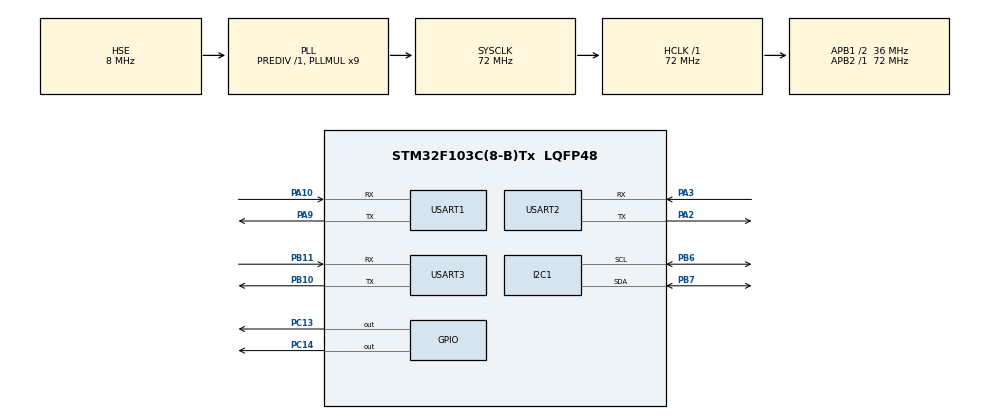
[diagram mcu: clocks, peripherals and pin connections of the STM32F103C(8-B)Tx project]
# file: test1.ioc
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Dma.Request0=USART2_RX
Dma.Request1=USART1_RX
Dma.Request2=USART3_RX
Dma.Request3=USART1_TX
Dma.Request4=USART2_TX
Dma.Request5=USART3_TX
Dma.USART1_RX.1.Direction=DMA_PERIPH_TO_MEMORY
Dma.USART1_RX.1.Instance=DMA1_Channel5
Dma.USART1_RX.1.MemDataAlignment=DMA_MDATAALIGN_BYTE
Dma.USART1_RX.1.MemInc=DMA_MINC_ENABLE
Dma.USART1_RX.1.Mode=DMA_NORMAL
Dma.USART1_RX.1.PeriphDataAlignment=DMA_PDATAALIGN_BYTE
Dma.USART1_RX.1.PeriphInc=DMA_PINC_DISABLE
Dma.USART1_RX.1.Priority=DMA_PRIORITY_LOW
Dma.USART1_TX.3.Direction=DMA_MEMORY_TO_PERIPH
Dma.USART1_TX.3.Instance=DMA1_Channel4
Dma.USART1_TX.3.MemDataAlignment=DMA_MDATAALIGN_BYTE
Dma.USART1_TX.3.MemInc=DMA_MINC_ENABLE
Dma.USART1_TX.3.Mode=DMA_NORMAL
Dma.USART1_TX.3.PeriphDataAlignment=DMA_PDATAALIGN_BYTE
Dma.USART1_TX.3.PeriphInc=DMA_PINC_DISABLE
Dma.USART1_TX.3.Priority=DMA_PRIORITY_LOW
Dma.USART2_RX.0.Direction=DMA_PERIPH_TO_MEMORY
Dma.USART2_RX.0.Instance=DMA1_Channel6
Dma.USART2_RX.0.MemDataAlignment=DMA_MDATAALIGN_BYTE
Dma.USART2_RX.0.MemInc=DMA_MINC_ENABLE
Dma.USART2_RX.0.Mode=DMA_NORMAL
Dma.USART2_RX.0.PeriphDataAlignment=DMA_PDATAALIGN_BYTE
Dma.USART2_RX.0.PeriphInc=DMA_PINC_DISABLE
Dma.USART2_RX.0.Priority=DMA_PRIORITY_LOW
Dma.USART2_TX.4.Direction=DMA_MEMORY_TO_PERIPH
Dma.USART2_TX.4.Instance=DMA1_Channel7
Dma.USART2_TX.4.MemDataAlignment=DMA_MDATAALIGN_BYTE
Dma.USART2_TX.4.MemInc=DMA_MINC_ENABLE
Dma.USART2_TX.4.Mode=DMA_NORMAL
Dma.USART2_TX.4.PeriphDataAlignment=DMA_PDATAALIGN_BYTE
Dma.USART2_TX.4.PeriphInc=DMA_PINC_DISABLE
Dma.USART2_TX.4.Priority=DMA_PRIORITY_LOW
Dma.USART3_RX.2.Direction=DMA_PERIPH_TO_MEMORY
Dma.USART3_RX.2.Instance=DMA1_Channel3
Dma.USART3_RX.2.MemDataAlignment=DMA_MDATAALIGN_BYTE
Dma.USART3_RX.2.MemInc=DMA_MINC_ENABLE
Dma.USART3_RX.2.Mode=DMA_NORMAL
Dma.USART3_RX.2.PeriphDataAlignment=DMA_PDATAALIGN_BYTE
Dma.USART3_RX.2.PeriphInc=DMA_PINC_DISABLE
Dma.USART3_RX.2.Priority=DMA_PRIORITY_LOW
Dma.USART3_TX.5.Direction=DMA_MEMORY_TO_PERIPH
Dma.USART3_TX.5.Instance=DMA1_Channel2
Dma.USART3_TX.5.MemDataAlignment=DMA_MDATAALIGN_BYTE
Dma.USART3_TX.5.MemInc=DMA_MINC_ENABLE
Dma.USART3_TX.5.Mode=DMA_NORMAL
Dma.USART3_TX.5.PeriphDataAlignment=DMA_PDATAALIGN_BYTE
Dma.USART3_TX.5.PeriphInc=DMA_PINC_DISABLE
Dma.USART3_TX.5.Priority=DMA_PRIORITY_LOW
FREERTOS.Tasks01=defaultTask,24,128,StartDefaultTask,Default,NULL,Dynamic,NULL,NULL
FREERTOS.configTOTAL_HEAP_SIZE=8000
Mcu.Family=STM32F1
Mcu.Name=STM32F103C(8-B)Tx
Mcu.Package=LQFP48
NVIC.DMA1_Channel2_IRQn=true\:5\:0\:false\:false\:true\:true\:false\:true\:true
NVIC.DMA1_Channel3_IRQn=true\:5\:0\:false\:false\:true\:true\:false\:true\:true
NVIC.DMA1_Channel4_IRQn=true\:5\:0\:false\:false\:true\:true\:false\:true\:true
NVIC.DMA1_Channel5_IRQn=true\:5\:0\:false\:false\:true\:true\:false\:true\:true
NVIC.DMA1_Channel6_IRQn=true\:5\:0\:false\:false\:true\:true\:false\:true\:true
NVIC.DMA1_Channel7_IRQn=true\:5\:0\:false\:false\:true\:true\:false\:true\:true
NVIC.PriorityGroup=NVIC_PRIORITYGROUP_4
NVIC.RTC_Alarm_IRQn=true\:5\:0\:false\:false\:true\:true\:true\:true\:true
NVIC.TIM2_IRQn=true\:5\:0\:false\:false\:true\:true\:true\:true\:true
NVIC.TIM4_IRQn=true\:15\:0\:false\:false\:true\:false\:false\:true\:true
NVIC.TimeBase=TIM4_IRQn
NVIC.TimeBaseIP=TIM4
NVIC.USART1_IRQn=true\:5\:0\:false\:false\:true\:true\:true\:true\:true
NVIC.USART2_IRQn=true\:5\:0\:false\:false\:true\:true\:true\:true\:true
NVIC.USART3_IRQn=true\:5\:0\:false\:false\:true\:true\:true\:true\:true
PA10.Mode=Asynchronous
PA10.Signal=USART1_RX
PA13.Mode=Serial_Wire
PA13.Signal=SYS_JTMS-SWDIO
PA14.Mode=Serial_Wire
PA14.Signal=SYS_JTCK-SWCLK
PA2.Mode=Asynchronous
PA2.Signal=USART2_TX
PA3.Mode=Asynchronous
PA3.Signal=USART2_RX
PA9.Mode=Asynchronous
PA9.Signal=USART1_TX
PB10.Mode=Asynchronous
PB10.Signal=USART3_TX
PB11.Mode=Asynchronous
PB11.Signal=USART3_RX
PB6.Mode=I2C
PB6.Signal=I2C1_SCL
PB7.Mode=I2C
PB7.Signal=I2C1_SDA
PC13-TAMPER-RTC.Signal=GPIO_Output
PC14-OSC32_IN.PinState=GPIO_PIN_SET
PC14-OSC32_IN.Signal=GPIO_Output
PD0-OSC_IN.Mode=HSE-External-Oscillator
PD0-OSC_IN.Signal=RCC_OSC_IN
PD1-OSC_OUT.Mode=HSE-External-Oscillator
PD1-OSC_OUT.Signal=RCC_OSC_OUT
ProjectManager.HeapSize=0x200
ProjectManager.StackSize=0x400
ProjectManager.TargetToolchain=MDK-ARM V5.32
RCC.AHBFreq_Value=72000000
RCC.APB1CLKDivider=RCC_HCLK_DIV2
RCC.APB1Freq_Value=36000000
RCC.APB1TimFreq_Value=72000000
RCC.APB2Freq_Value=72000000
RCC.APB2TimFreq_Value=72000000
RCC.HCLKFreq_Value=72000000
RCC.PLLMUL=RCC_PLL_MUL9
RCC.PLLSourceVirtual=RCC_PLLSOURCE_HSE
RCC.SYSCLKFreq_VALUE=72000000
RCC.SYSCLKSource=RCC_SYSCLKSOURCE_PLLCLK
RCC.USBFreq_Value=72000000
RTC.Date=28
RTC.Hours=13
RTC.Minutes=42
RTC.Month=RTC_MONTH_APRIL
RTC.WeekDay=RTC_WEEKDAY_SUNDAY
RTC.Year=25
TIM2.AutoReloadPreload=TIM_AUTORELOAD_PRELOAD_ENABLE
TIM2.Period=9999
TIM2.Prescaler=7199
USART1.VirtualMode=VM_ASYNC
USART2.VirtualMode=VM_ASYNC
USART3.VirtualMode=VM_ASYNC
VP_FREERTOS_VS_CMSIS_V2.Mode=CMSIS_V2
VP_RTC_VS_RTC_Activate.Mode=RTC_Enabled
VP_RTC_VS_RTC_Calendar.Mode=RTC_Calendar
VP_SYS_VS_tim4.Mode=TIM4
VP_TIM2_VS_ClockSourceINT.Mode=Internal
board=custom

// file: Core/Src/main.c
/* USER CODE BEGIN Header */
/**
  ******************************************************************************
  * @file           : main.c
  * @brief          : Main program body
  ******************************************************************************
  * @attention
  *
  * Copyright (c) 2024 STMicroelectronics.
  * All rights reserved.
  *
  * This software is licensed under terms that can be found in the LICENSE file
  * in the root directory of this software component.
  * If no LICENSE file comes with this software, it is provided AS-IS.
  *
  ******************************************************************************
  */
/* USER CODE END Header */
#include "main.h"
#include "cmsis_os.h"
#include "dma.h"
#include "i2c.h"
#include "rtc.h"
#include "tim.h"
#include "usart.h"
#include "gpio.h"

/* USER CODE BEGIN Includes */
/* USER CODE BEGIN 0 */
#include "stdio.h"
#include "string.h"
#include "driver.h"

/* USER CODE END 0 */

/* USER CODE END Includes */

/* USER CODE BEGIN PTD */

extern driver_uart_1 uart_1;
extern driver_uart_2 uart_2;
extern driver_uart_3 uart_3;
//串口结构体初始化

/* USER CODE END PTD */

/* USER CODE BEGIN PD */
extern DMA_HandleTypeDef hdma_usart1_rx;
extern DMA_HandleTypeDef hdma_usart2_rx;
extern DMA_HandleTypeDef hdma_usart3_rx;
/* USER CODE END PD */

void SystemClock_Config(void);
void MX_FREERTOS_Init(void);

/* USER CODE BEGIN 0 */
#include "stdio.h"
#include "string.h"
#include "driver.h"

/* USER CODE END 0 */

int main(void)
{

  /* MCU Configuration--------------------------------------------------------*/

  /* Reset of all peripherals, Initializes the Flash interface and the Systick. */
  HAL_Init();

  /* Configure the system clock */
  SystemClock_Config();

  /* Initialize all configured peripherals */
  MX_GPIO_Init();
  MX_DMA_Init();
  MX_I2C1_Init();
  MX_TIM2_Init();
  MX_USART1_UART_Init();
  MX_RTC_Init();
  MX_USART2_UART_Init();
  MX_USART3_UART_Init();
  /* USER CODE BEGIN 2 */

/*
3个出口接受中断初始化DMA,并且开启空闲中断，空闲中断需要规定齐内容的最大值receiveData_uart1
*/
	HAL_UARTEx_ReceiveToIdle_DMA(&huart1, (uint8_t *)&uart_1.aRxBuffer, receiveData_uart1);
	__HAL_DMA_DISABLE_IT(&hdma_usart1_rx,DMA_IT_HT);//关闭DMA过半中断

	HAL_UARTEx_ReceiveToIdle_DMA(&huart2, (uint8_t *)&uart_2.aRxBuffer, receiveData_uart2);
	__HAL_DMA_DISABLE_IT(&hdma_usart2_rx,DMA_IT_HT);

	HAL_UARTEx_ReceiveToIdle_DMA(&huart3, (uint8_t *)&uart_3.aRxBuffer, receiveData_uart3);
	__HAL_DMA_DISABLE_IT(&hdma_usart3_rx,DMA_IT_HT);

//	HAL_UARTEx_ReceiveToIdle_DMA(&huart2, (uint8_t *)&uart_2.aRxBuffer, 2);
//

  /* USER CODE END 2 */

  /* Init scheduler */
  osKernelInitialize();

  /* Call init function for freertos objects (in cmsis_os2.c) */
  MX_FREERTOS_Init();

  /* Start scheduler */
  osKernelStart();

  /* We should never get here as control is now taken by the scheduler */

  /* Infinite loop */
  while (1)
  {

    /* USER CODE BEGIN 3 */
		//HAL_GPIO_WritePin(GPIOC, GPIO_PIN_13, GPIO_PIN_SET);

  }
  /* USER CODE END 3 */
}

void SystemClock_Config(void)
{
  RCC_OscInitTypeDef RCC_OscInitStruct = {0};
  RCC_ClkInitTypeDef RCC_ClkInitStruct = {0};
  RCC_PeriphCLKInitTypeDef PeriphClkInit = {0};

  /** Initializes the RCC Oscillators according to the specified parameters
  * in the RCC_OscInitTypeDef structure.
  */
  RCC_OscInitStruct.OscillatorType = RCC_OSCILLATORTYPE_LSI|RCC_OSCILLATORTYPE_HSE;
  RCC_OscInitStruct.HSEState = RCC_HSE_ON;
  RCC_OscInitStruct.HSEPredivValue = RCC_HSE_PREDIV_DIV1;
  RCC_OscInitStruct.HSIState = RCC_HSI_ON;
  RCC_OscInitStruct.LSIState = RCC_LSI_ON;
  RCC_OscInitStruct.PLL.PLLState = RCC_PLL_ON;
  RCC_OscInitStruct.PLL.PLLSource = RCC_PLLSOURCE_HSE;
  RCC_OscInitStruct.PLL.PLLMUL = RCC_PLL_MUL9;
  if (HAL_RCC_OscConfig(&RCC_OscInitStruct) != HAL_OK)
  {
    Error_Handler();
  }

  /** Initializes the CPU, AHB and APB buses clocks
  */
  RCC_ClkInitStruct.ClockType = RCC_CLOCKTYPE_HCLK|RCC_CLOCKTYPE_SYSCLK
                              |RCC_CLOCKTYPE_PCLK1|RCC_CLOCKTYPE_PCLK2;
  RCC_ClkInitStruct.SYSCLKSource = RCC_SYSCLKSOURCE_PLLCLK;
  RCC_ClkInitStruct.AHBCLKDivider = RCC_SYSCLK_DIV1;
  RCC_ClkInitStruct.APB1CLKDivider = RCC_HCLK_DIV2;
  RCC_ClkInitStruct.APB2CLKDivider = RCC_HCLK_DIV1;

  if (HAL_RCC_ClockConfig(&RCC_ClkInitStruct, FLASH_LATENCY_2) != HAL_OK)
  {
    Error_Handler();
  }
  PeriphClkInit.PeriphClockSelection = RCC_PERIPHCLK_RTC;
  PeriphClkInit.RTCClockSelection = RCC_RTCCLKSOURCE_LSI;
  if (HAL_RCCEx_PeriphCLKConfig(&PeriphClkInit) != HAL_OK)
  {
    Error_Handler();
  }
}

void HAL_TIM_PeriodElapsedCallback(TIM_HandleTypeDef *htim)
{
  /* USER CODE BEGIN Callback 0 */

//	static unsigned char ledState = 0;
//	if (htim == (&htim2))  //硬件定时器2，定时1000ms
//	{
//		if (ledState == 0)
//            HAL_GPIO_WritePin(GPIOC, GPIO_PIN_13, GPIO_PIN_RESET);
//        else
//           HAL_GPIO_WritePin(GPIOC, GPIO_PIN_13, GPIO_PIN_SET);
//        ledState = !ledState;
//	}

  /* USER CODE END Callback 0 */
  if (htim->Instance == TIM4) {
    HAL_IncTick();
  }
}

void Error_Handler(void)
{
  __disable_irq();
  while (1)
  {
  }
}

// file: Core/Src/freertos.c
/* USER CODE BEGIN Header */
/**
  ******************************************************************************
  * File Name          : freertos.c
  * Description        : Code for freertos applications
  ******************************************************************************
  * @attention
  *
  * Copyright (c) 2024 STMicroelectronics.
  * All rights reserved.
  *
  * This software is licensed under terms that can be found in the LICENSE file
  * in the root directory of this software component.
  * If no LICENSE file comes with this software, it is provided AS-IS.
  *
  ******************************************************************************
  */
/* USER CODE END Header */

#include "FreeRTOS.h"
#include "task.h"
#include "main.h"
#include "cmsis_os.h"

/* USER CODE BEGIN Includes */
#include "freertos_user.h"
#include "driver.h"
#include "semphr.h"
/* USER CODE END Includes */

/* USER CODE BEGIN PTD */

//extern UART_HandleTypeDef huart2;

/* USER CODE END PTD */

/* USER CODE BEGIN PD */

extern driver_uart_1 uart_1;
TaskHandle_t oled_Handle;
TaskHandle_t esp8266_init_Handle;
/* USER CODE END PD */

/* Definitions for defaultTask */
osThreadId_t defaultTaskHandle;
const osThreadAttr_t defaultTask_attributes = {
  .name = "defaultTask",
  .stack_size = 128 * 4,
  .priority = (osPriority_t) osPriorityNormal,
};

/* USER CODE BEGIN FunctionPrototypes */
void ADMIN_Task(void *argument);
/* USER CODE END FunctionPrototypes */

void StartDefaultTask(void *argument);

void MX_FREERTOS_Init(void); /* (MISRA C 2004 rule 8.1) */

void MX_FREERTOS_Init(void) {
  /* USER CODE BEGIN Init */
  stm32_uart_init(&uart_1);

  /* USER CODE END Init */

  /* Create the thread(s) */
  /* creation of defaultTask */
 // defaultTaskHandle = osThreadNew(StartDefaultTask, NULL, &defaultTask_attributes);

  /* USER CODE BEGIN RTOS_THREADS */
  /* add threads, ... */

		xTaskCreate(OLED_Test, "oledTask", 128, NULL, osPriorityNormal, &oled_Handle);
		xTaskCreate(uart2_Task, "esptowifiTask", 128, NULL, osPriorityNormal+1, NULL);
    //xTaskCreate(RTC_Task, "RTCTask", 128, NULL, osPriorityNormal, NULL);
		//xTaskCreate(UART_Test, "UARTTask", 128, NULL, osPriorityNormal, NULL);
	  xTaskCreate(esp8266_init, "esp8266_init", 128, NULL, osPriorityNormal, &esp8266_init_Handle);
  /* USER CODE END RTOS_THREADS */

  /* USER CODE BEGIN RTOS_EVENTS */
  /* add events, ... */

	  //chage(&g_my_uart,"OK");
  /* USER CODE END RTOS_EVENTS */

}

void StartDefaultTask(void *argument)
{
  /* USER CODE BEGIN StartDefaultTask */
  /* Infinite loop */
  for(;;)
  {
		//Led_Test();
		//printf_2("hello windows!\r\n");
		//HAL_UART_Transmit(&huart2, (uint8_t *)"hello windows!\r\n", 16 , 0xffff);
		vTaskDelay(1000);
	//	HAL_PWR_EnterSTOPMode(PWR_LOWPOWERREGULATOR_ON,PWR_SLEEPENTRY_WFI);//进入停止模式

  }
  /* USER CODE END StartDefaultTask */
}
